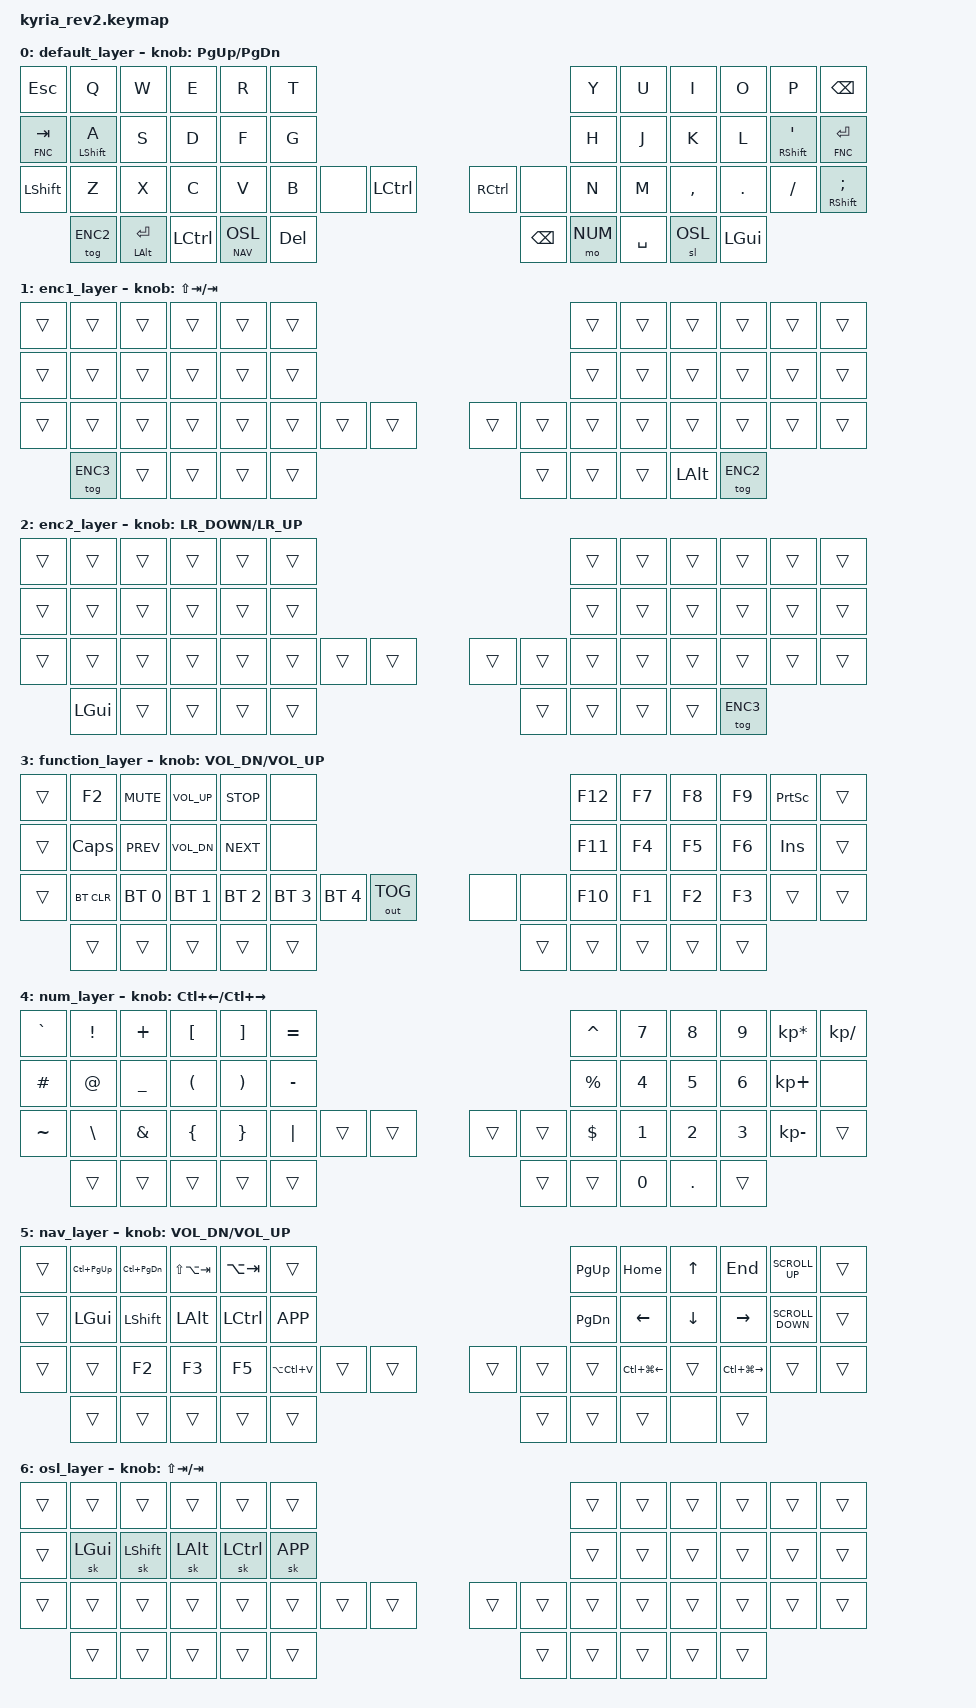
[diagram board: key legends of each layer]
/*
 * Copyright (c) 2020 The ZMK Contributors
 *
 * SPDX-License-Identifier: MIT
 */

#include <behaviors.dtsi>
#include <dt-bindings/zmk/keys.h>
#include <dt-bindings/zmk/bt.h>
#include <dt-bindings/zmk/outputs.h>

#define BASE 0
#define ENC2 1
#define ENC3 2
#define FNC  3
#define NUM  4
#define NAV  5
#define OSL 6
#define PTAB LC(PG_UP)
#define NTAB LC(PG_DN)
#define NWIN LA(TAB)
#define PWIN LS(LA(TAB))
#define XSLV LA(LC(V))
#define PDESK LC(LG(RIGHT))
#define NDESK LC(LG(LEFT))
#define LR_DOWN LA(DOWN)
#define LR_UP LA(UP)

&left_encoder {
    resolution = <2>;
};

&sk {
	release-after-ms = <1000>;
};
&sl {
	release-after-ms = <1000>;
};

/ {
	behaviors {
    // hm: homerow_mods {
    //   compatible = "zmk,behavior-hold-tap";
    //   label = "HOMEROW_MODS";
    //   #binding-cells = <2>;
    //   tapping_term_ms = <200>;
    //   flavor = "tap-preferred";
    //   bindings = <&kp>, <&cp>;
    // };
		hm: homerow_mods {
	    compatible = "zmk,behavior-hold-tap";
	    label = "homerow mods";
	    #binding-cells = <2>;
	    tapping_term_ms = <220>;
	    flavor = "balanced";
	    bindings = <&kp>, <&kp>;
	  };

	  mx: layer_tap_osl {
			compatible = "zmk,behavior-hold-tap";
			label = "LAYER_TAP_OSL";
			#binding-cells = <2>;
			flavor = "hold-preferred";
			tapping_term_ms = <200>;
			bindings = <&mo>, <&sl>;
		};
	};

	keymap {
		compatible = "zmk,keymap";

		default_layer {
// ---------------------------------------------------------------------------------------------------------------------------------
// |  ESC  |  Q  |  W  |  E   |  R   |  T   |                                          |  Y   |  U    |  I    |  O   |   P   | bksp |
// | TAB/FN|  A  |  S  |  D   |  F   |  G   |                                          |  H   |  J    |  K    |  L   |   '   |ent/fn|
// | SHIFT |  Z  |  X  |  C   |  V   |  B   | ---     |  ctrl   |  |   ctrl  |  blank  |  N   |  M    |  ,    |  .   |   /   |shft/;|
//                     | ENC  |Alt/En| Ctrl |  Nav    |   del   |  |   bksp  |  num    | spc  | Iso   | ENC2  |
			bindings = <
	&kp ESC     &kp Q       &kp W &kp E &kp R &kp T                                            &kp Y &kp U  &kp I     &kp O   &kp P         &kp BSPC
	&lt FNC TAB &hm LSHFT A &kp S &kp D &kp F &kp G                                            &kp H &kp J  &kp K     &kp L   &hm RSHFT SQT &lt FNC RET
	&kp LSHFT   &kp Z       &kp X &kp C &kp V &kp B &none   &kp LCTRL         &kp RCTRL &none  &kp N &kp M  &kp COMMA &kp DOT &kp FSLH      &mt RSHFT SEMI
	              &tog ENC2 &mt LALT RET  &kp LCTRL &mx NAV OSL &kp DEL            &kp BKSP &mo NUM &kp SPC &sl OSL &kp LGUI
			>;

			sensor-bindings = <&inc_dec_kp PG_UP PG_DN>;
		};

		enc1_layer {
			bindings = <
	&trans &trans &trans &trans &trans &trans                              &trans &trans &trans &trans &trans &trans
	&trans &trans &trans &trans &trans &trans                              &trans &trans &trans &trans &trans &trans
	&trans &trans &trans &trans &trans &trans &trans &trans  &trans &trans &trans &trans &trans &trans &trans &trans
	                       &tog ENC3  &trans   &trans        &trans &trans  &trans &trans    &trans    &kp LALT     &tog ENC2
			>;

			sensor-bindings = <&inc_dec_kp LS(TAB) TAB>;
		};

		enc2_layer {
			bindings = <
	&trans &trans &trans &trans &trans &trans                              &trans &trans &trans &trans &trans &trans
	&trans &trans &trans &trans &trans &trans                              &trans &trans &trans &trans &trans &trans
	&trans &trans &trans &trans &trans &trans &trans &trans  &trans &trans &trans &trans &trans &trans &trans &trans
	                       &kp LGUI  &trans   &trans        &trans &trans  &trans &trans    &trans    &trans     &tog ENC3
			>;

			sensor-bindings = <&inc_dec_kp LR_DOWN LR_UP>;
		};

		function_layer {
// ---------------------------------------------------------------------------------------------------------------------------------
// | none  |  F2 | mute| V+   | stp  |   @  |                                       | F12  |  F7   |  F8   |  F9  | Print| none |
// | none  | caps| Prev| V-   | Next |   @p |                                       | F11  |  F4   |  F5   |  F6  | Ins  | none |
// | none  | /Ble| Ble0| Ble1 | Ble2 | Ble3 |  Ble4  |  ---    |  |   ---   |  ---  | F10  |  F1   |  F2   |  F3  | ---  | none |
//                     | ---  | ---  | ---  |  ---   |  ---    |  |   ---   |  ---  | ---  | ---   | ---   |
			bindings = <
	&trans &kp F2     &kp C_MUTE   &kp C_VOL_UP &kp C_STOP   &none                                                &kp F12 &kp F7 &kp F8 &kp F9 &kp PSCRN &trans
	&trans &kp CAPS   &kp C_PREV   &kp C_VOL_DN &kp C_NEXT   &none                                                &kp F11 &kp F4 &kp F5 &kp F6 &kp INS  &trans
	&trans &bt BT_CLR &bt BT_SEL 0 &bt BT_SEL 1 &bt BT_SEL 2 &bt BT_SEL 3 &bt BT_SEL 4 &out OUT_TOG  &none  &none &kp F10 &kp F1 &kp F2 &kp F3 &trans   &trans
	                         &trans        &trans        &trans           &trans       &trans        &trans &trans &trans &trans &trans
			>;

			sensor-bindings = <&inc_dec_cp C_VOL_DN C_VOL_UP>;
		};

		num_layer {
// ---------------------------------------------------------------------------------------------------------------------------------
// | `     |  !  |  +  |  [   |  ]   |  =   |                                          |  %   |  7    |  8    |  9   |   *   | /    |
// | #     |  @  |  _  |  (   |  )   |  -   |                                          |  $   |  4    |  5    |  6   |   +   | ---  |
// | ~     |  \  |  &  |  {   |  }   |  |   |   ---   |  ---    |  |   ---   |  ---    |  ^   |  1    |  2    |  3   |   -   | ---  |
//                     | ENC  | ---  | ---  |   ---   |  ---    |  |   ---   |  ---    | ---  | ---   | ---   |
			bindings = <
	&kp GRAVE &kp EXCL &kp PLUS  &kp LBKT &kp RBKT &kp EQUAL                             &kp CARET &kp N7 &kp N8 &kp N9 &kp KP_MULTIPLY &kp KP_DIVIDE
	&kp HASH  &kp AT   &kp UNDER &kp LPAR &kp RPAR &kp MINUS                             &kp PRCNT &kp N4 &kp N5 &kp N6 &kp KP_PLUS &none
	&kp TILDE &kp BSLH &kp AMPS  &kp LBRC &kp RBRC &kp PIPE &trans &trans  &trans &trans &kp DLLR  &kp N1 &kp N2 &kp N3 &kp KP_MINUS &trans
	                       &trans  &trans   &trans          &trans &trans  &trans &trans    &kp N0  &kp DOT    &trans
			>;

			sensor-bindings = <&inc_dec_kp LC(LEFT) LC(RIGHT)>;
		};

		nav_layer {
// ---------------------------------------------------------------------------------------------------------------------------------
// | ---  | Tab-| Tab+| win+ | win- | excel|                                          | Pgup | Home |  Up   | End  | ScrUp | ---  |
// | ---  | Win | Shft| alt  | ctrl | app  |                                          | Pgdw | Left |  Down | Right| ScrDn | ---  |
// | ---  | --- | F2  | F3   | F5   | excel|   ---   |  ---    |  |   ---   |  ---    |      | Predk| ---   | NxDk |   -   |---   |
//                    | ENC  | ---  | ---  |   ---   |  ---    |  |   ---   |  ---    | ---  | ---  | ---   |
			bindings = <
	&trans &kp PTAB &kp NTAB  &kp PWIN &kp NWIN  &trans                                &kp PG_UP &kp HOME &kp UP   &kp END   &kp K_SCROLL_UP &trans
	&trans &kp LGUI &kp LSHFT &kp LALT &kp LCTRL &kp K_APP                             &kp PG_DN &kp LEFT &kp DOWN &kp RIGHT &kp K_SCROLL_DOWN &trans
	&trans &trans   &kp F2    &kp F3   &kp F5    &kp XSLV &trans &trans  &trans &trans &trans   &kp NDESK &trans   &kp PDESK &trans &trans
	                       &trans  &trans   &trans        &trans &trans  &trans &trans    &trans    &none     &trans
			>;

			sensor-bindings = <&inc_dec_cp C_VOL_DN C_VOL_UP>;
		};

		osl_layer {
			bindings = <
	&trans &trans   &trans    &trans   &trans    &trans                              &trans &trans &trans &trans &trans &trans
	&trans &sk LGUI &sk LSHFT &sk LALT &sk LCTRL &sk K_APP                           &trans &trans &trans &trans &trans &trans
	&trans &trans   &trans    &trans   &trans    &trans &trans &trans  &trans &trans &trans &trans &trans &trans &trans &trans
	                       &trans  &trans   &trans        &trans &trans  &trans &trans    &trans    &trans     &trans
			>;

			sensor-bindings = <&inc_dec_kp LS(TAB) TAB>;
		};
	};
};
